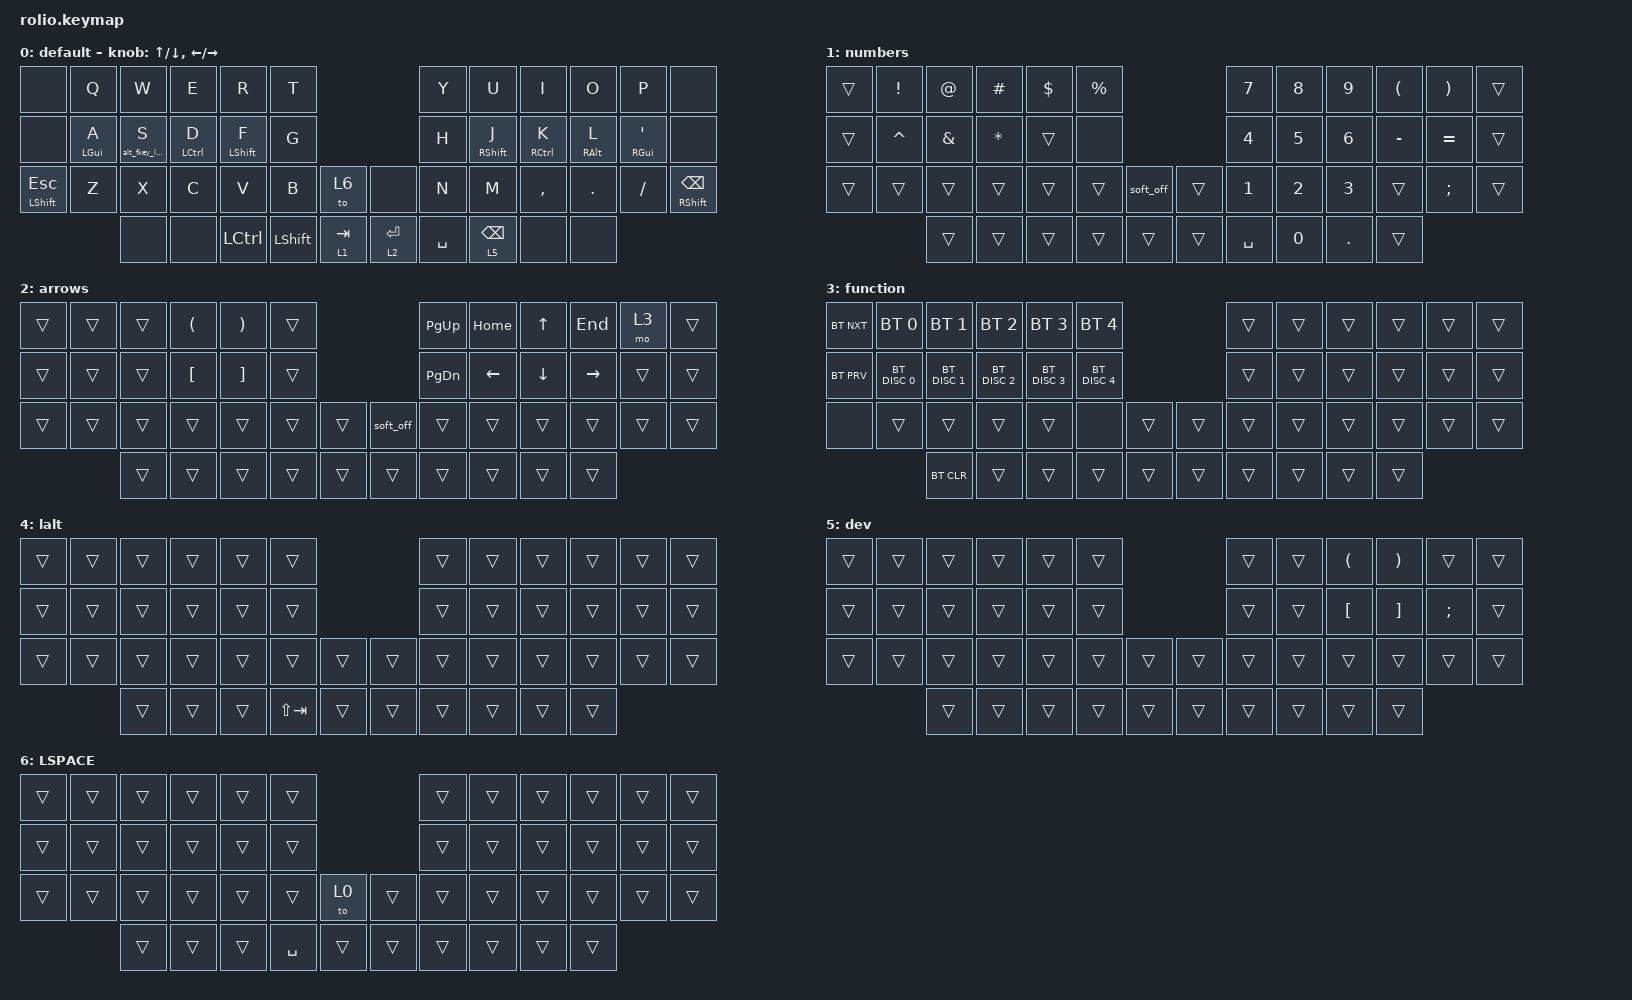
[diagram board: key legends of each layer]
/*
 * Copyright (c) 2020 The ZMK Contributors
 *
 * SPDX-License-Identifier: MIT
 */

#include <behaviors.dtsi>
#include <dt-bindings/zmk/bt.h>
#include <dt-bindings/zmk/keys.h>

#define MACOS     0
#define FKEYS     1
#define NUMBERS   2
#define WINDOWS   3
#define W_FKEYS   4
#define W_NUMBERS 5
#define MATHS     6
#define KB_CONFIG 7

/ {
    conditional_layers { compatible = "zmk,conditional-layers"; };

    behaviors {
        // Toggle F-Keys Layer

        td0: tap_dance_0 {
            compatible = "zmk,behavior-tap-dance";
            label = "TAP_DANCE_0";
            #binding-cells = <0>;
            tapping-term-ms = <300>;
            bindings = <&mo 0>, <&tog 0>, <&tog 0>;
        };

        // Toggle Numbers layer

        td1: tap_dance_1 {
            compatible = "zmk,behavior-tap-dance";
            label = "TAP_DANCE_1";
            #binding-cells = <0>;
            tapping-term-ms = <300>;
            bindings = <&mo 0>, <&tog 0>, <&tog 0>;
        };

        // Toggle capsword left

        td2: tap_dance_2 {
            compatible = "zmk,behavior-tap-dance";
            label = "TAP_DANCE_2";
            #binding-cells = <0>;
            tapping-term-ms = <200>;
            bindings = <&kp LSHFT>, <&caps_word>;
        };

        // Toggle capsword right

        td3: tap_dance_3 {
            compatible = "zmk,behavior-tap-dance";
            label = "TAP_DANCE_3";
            #binding-cells = <0>;
            tapping-term-ms = <200>;
            bindings = <&kp RSHFT>, <&caps_word>;
        };

        // Toggle Windows layer

        td4: tap_dance_4 {
            compatible = "zmk,behavior-tap-dance";
            label = "TAP_DANCE_4";
            #binding-cells = <0>;
            tapping-term-ms = <200>;
            bindings = <&kp LGUI>, <&tog 0>;
        };

        // Toggle Windows layer

        td5: tap_dance_5 {
            compatible = "zmk,behavior-tap-dance";
            label = "TAP_DANCE_5";
            #binding-cells = <0>;
            tapping-term-ms = <200>;
            bindings = <&kp RGUI>, <&tog 0>;
        };

        // Backspace a whole word when holding backspace

        backspace_word: backspace_word {
            compatible = "zmk,behavior-hold-tap";
            label = "BACKSPACE_WORD";
            #binding-cells = <2>;
            tapping_term_ms = <135>;
            quick_tap_ms = <0>;
            flavor = "tap-preferred";
            bindings = <&bsp_word>, <&kp>;
        };

        w_backspace_word: w_backspace_word {
            compatible = "zmk,behavior-hold-tap";
            label = "WINDOWS_BACKSPACE_WORD";
            #binding-cells = <2>;
            tapping_term_ms = <135>;
            quick_tap_ms = <0>;
            flavor = "tap-preferred";
            bindings = <&w_bsp_word>, <&kp>;
        };

        hrm_right: hrm_right {
            compatible = "zmk,behavior-hold-tap";
            label = "HRM_RIGHT";
            bindings = <&kp>, <&kp>;

            #binding-cells = <2>;
            flavor = "balanced";
            tapping-term-ms = <280>;
            quick-tap-ms = <175>;
            require-prior-idle-ms = <150>;
            hold-trigger-on-release;
            hold-trigger-key-positions = <38 39 40 41 42 30 1 2 3 4 5 13 14 15 16 17 25 26 27 28 29 0 12 24>;
        };

        hrm_left: hrm_left {
            compatible = "zmk,behavior-hold-tap";
            label = "HRM_LEFT";
            bindings = <&kp>, <&kp>;

            #binding-cells = <2>;
            flavor = "balanced";
            tapping-term-ms = <280>;
            quick-tap-ms = <175>;
            require-prior-idle-ms = <150>;
            hold-trigger-on-release;
            hold-trigger-key-positions = <43 44 45 46 47 6 7 8 9 10 11 18 19 20 21 22 23 32 33 34 35 36 37 31>;
        };

        hrm_left_alt_layer: hrm_left_alt_layer {
            compatible = "zmk,behavior-hold-tap";
            label = "HRM_LEFT_ALT_LAYER";
            bindings = <&alt_fkey_layer>, <&kp>;

            #binding-cells = <2>;
            flavor = "balanced";
            tapping-term-ms = <280>;
            quick-tap-ms = <175>;
            require-prior-idle-ms = <150>;
            hold-trigger-on-release;
            hold-trigger-key-positions = <43 44 45 46 47 6 7 8 9 10 11 18 19 20 21 22 23 32 33 34 35 36 37 31>;
        };

        //Mac OS Zoom
        //Windows OS Zoom
    };

    macros {
        unindent: unindent {
            label = "UNINDENT";
            compatible = "zmk,behavior-macro";
            #binding-cells = <0>;
            bindings =
                <&macro_press>,
                <&kp LSHIFT>,
                <&macro_tap>,
                <&kp TAB>,
                <&macro_release>,
                <&kp LSHIFT>;
        };

        lstart: lstart {
            label = "Line_Start";
            compatible = "zmk,behavior-macro";
            #binding-cells = <0>;
            bindings =
                <&macro_press>,
                <&kp LGUI>,
                <&macro_tap>,
                <&kp LEFT>,
                <&macro_release>,
                <&kp LGUI>;
        };

        lend: lend {
            label = "Line_End";
            compatible = "zmk,behavior-macro";
            #binding-cells = <0>;
            bindings =
                <&macro_press>,
                <&kp LGUI>,
                <&macro_tap>,
                <&kp RIGHT>,
                <&macro_release>,
                <&kp LGUI>;
        };

        scrsh: scrsh {
            label = "Screenshot";
            compatible = "zmk,behavior-macro";
            #binding-cells = <0>;
            bindings =
                <&macro_press>,
                <&kp LGUI>,
                <&macro_press>,
                <&kp LSHIFT>,
                <&macro_tap>,
                <&kp N3>,
                <&macro_release>,
                <&kp LSHFT>,
                <&macro_release>,
                <&kp LGUI>;
        };

        scrcr: scrcr {
            label = "Screen_Crop";
            compatible = "zmk,behavior-macro";
            #binding-cells = <0>;
            bindings =
                <&macro_press>,
                <&kp LGUI>,
                <&macro_press>,
                <&kp LSHIFT>,
                <&macro_tap>,
                <&kp N4>,
                <&macro_release>,
                <&kp LSHFT>,
                <&macro_release>,
                <&kp LGUI>;
        };

        wscrcr: wscrcr {
            label = "Windows_Screen_Crop";
            compatible = "zmk,behavior-macro";
            #binding-cells = <0>;
            bindings =
                <&macro_press>,
                <&kp LGUI>,
                <&macro_press>,
                <&kp LSHIFT>,
                <&macro_tap>,
                <&kp S>,
                <&macro_release>,
                <&kp LSHFT>,
                <&macro_release>,
                <&kp LGUI>;
        };

        pal: pal {
            label = "Pallette";
            compatible = "zmk,behavior-macro";
            #binding-cells = <0>;
            bindings =
                <&macro_press>,
                <&kp LGUI>,
                <&macro_press>,
                <&kp LCTRL>,
                <&macro_tap>,
                <&kp SPACE>,
                <&macro_release>,
                <&kp LCTRL>,
                <&macro_release>,
                <&kp LGUI>;
        };

        wpal: wpal {
            label = "W_Pallette";
            compatible = "zmk,behavior-macro";
            #binding-cells = <0>;
            bindings =
                <&macro_press>,
                <&kp LGUI>,
                <&macro_tap>,
                <&kp DOT>,
                <&macro_release>,
                <&kp LGUI>;
        };

        // Word backspace macros

        bsp_word: bsp_word {
            label = "BSP_WORD";
            compatible = "zmk,behavior-macro";
            #binding-cells = <0>;
            bindings =
                <&macro_press>,
                <&kp LALT>,
                <&macro_tap>,
                <&kp BSPC>,
                <&macro_release>,
                <&kp LALT>;
        };

        w_bsp_word: w_bsp_word {
            label = "W_BSP_WORD";
            compatible = "zmk,behavior-macro";
            #binding-cells = <0>;
            bindings =
                <&macro_press>,
                <&kp LCTRL>,
                <&macro_tap>,
                <&kp BSPC>,
                <&macro_release>,
                <&kp LCTRL>;
        };

        // Zoom macros

        zoom_in: zoom_in {
            label = "ZOOM_IN";
            compatible = "zmk,behavior-macro";
            #binding-cells = <0>;
            bindings =
                <&macro_press>,
                <&kp LGUI>,
                <&macro_tap>,
                <&kp EQUAL>,
                <&macro_release>,
                <&kp LGUI>;
        };

        zoom_out: zoom_out {
            label = "ZOOM_OUT";
            compatible = "zmk,behavior-macro";
            #binding-cells = <0>;
            bindings =
                <&macro_press>,
                <&kp LGUI>,
                <&macro_tap>,
                <&kp MINUS>,
                <&macro_release>,
                <&kp LGUI>;
        };

        reset_zoom: reset_zoom {
            label = "RESET_ZOOM";
            compatible = "zmk,behavior-macro";
            #binding-cells = <0>;
            bindings =
                <&macro_press>,
                <&kp LGUI>,
                <&macro_tap>,
                <&kp N0>,
                <&macro_release>,
                <&kp LGUI>;
        };

        w_zoom_in: w_zoom_in {
            label = "WINDOWS_ZOOM_IN";
            compatible = "zmk,behavior-macro";
            #binding-cells = <0>;
            bindings =
                <&macro_press>,
                <&kp LCTRL>,
                <&macro_tap>,
                <&kp EQUAL>,
                <&macro_release>,
                <&kp LCTRL>;
        };

        w_zoom_out: w_zoom_out {
            label = "WINDOWS_ZOOM_OUT";
            compatible = "zmk,behavior-macro";
            #binding-cells = <0>;
            bindings =
                <&macro_press>,
                <&kp LCTRL>,
                <&macro_tap>,
                <&kp MINUS>,
                <&macro_release>,
                <&kp LCTRL>;
        };

        w_reset_zoom: w_reset_zoom {
            label = "WINDOWS_RESET_ZOOM";
            compatible = "zmk,behavior-macro";
            #binding-cells = <0>;
            bindings =
                <&macro_press>,
                <&kp LCTRL>,
                <&macro_tap>,
                <&kp N0>,
                <&macro_release>,
                <&kp LCTRL>;
        };

        alt_fkey_layer: layer_mod {
            compatible = "zmk,behavior-macro";
            #binding-cells = <0>;
            bindings =
                <&macro_press>,
                <&kp LALT &mo 4>,
                <&macro_pause_for_release>,
                <&macro_release>,
                <&kp LEFT_ALT &mo 4>;

            label = "LAYER_MOD";
        };
    };

    combos {
        compatible = "zmk,combos";

        copy {
            bindings = <&kt LC(C)>;
            key-positions = <26 27>;
        };

        paste {
            bindings = <&kp LC(V)>;
            key-positions = <28 27>;
        };

        cut {
            bindings = <&kp LC(X)>;
            key-positions = <25 27>;
        };
    };

    keymap {
        compatible = "zmk,keymap";

        default_layer {
            label = "default";
            sensor-bindings = <&inc_dec_kp UP DOWN &inc_dec_kp LEFT RIGHT>;
            bindings = <
&none                  &kp Q                 &kp W                    &kp E                     &kp R                   &kp T                                   &kp Y      &kp U                     &kp I                       &kp O                   &kp P                     &none
&none                  &hrm_left LEFT_GUI A  &hrm_left_alt_layer 0 S  &hrm_left LEFT_CONTROL D  &hrm_left LEFT_SHIFT F  &kp G                                   &kp H      &hrm_right RIGHT_SHIFT J  &hrm_right RIGHT_CONTROL K  &hrm_right RIGHT_ALT L  &hrm_right RIGHT_GUI SQT  &none
&mt LEFT_SHIFT ESCAPE  &kp Z                 &kp X                    &kp C                     &kp V                   &kp B           &to 6      &none        &kp N      &kp M                     &kp COMMA                   &kp DOT                 &kp FSLH                  &mt RIGHT_SHIFT BACKSPACE
                                             &none                    &none                     &kp LCTRL               &kp LEFT_SHIFT  &lt 1 TAB  &lt 2 ENTER  &kp SPACE  &lt 5 BACKSPACE           &none                       &none
            >;
        };

        Numbers {
            bindings = <
&trans  &kp EXCLAMATION  &kp AT_SIGN    &kp HASH      &kp DOLLAR  &kp PERCENT                     &kp N7     &kp N8  &kp N9   &kp LEFT_PARENTHESIS  &kp RIGHT_PARENTHESIS  &trans
&trans  &kp CARET        &kp AMPERSAND  &kp ASTERISK  &trans      &none                           &kp N4     &kp N5  &kp N6   &kp MINUS             &kp EQUAL              &trans
&trans  &trans           &trans         &trans        &trans      &trans       &soft_off  &trans  &kp N1     &kp N2  &kp N3   &trans                &kp SEMICOLON          &trans
                         &trans         &trans        &trans      &trans       &trans     &trans  &kp SPACE  &kp N0  &kp DOT  &trans
            >;

            label = "numbers";
        };

        Arrows {
            bindings = <
&trans  &trans  &trans  &kp LEFT_PARENTHESIS  &kp RIGHT_PARENTHESIS  &trans                     &kp PAGE_UP    &kp HOME  &kp UP    &kp END    &mo 3   &trans
&trans  &trans  &trans  &kp LBKT              &kp RBKT               &trans                     &kp PAGE_DOWN  &kp LEFT  &kp DOWN  &kp RIGHT  &trans  &trans
&trans  &trans  &trans  &trans                &trans                 &trans  &trans  &soft_off  &trans         &trans    &trans    &trans     &trans  &trans
                &trans  &trans                &trans                 &trans  &trans  &trans     &trans         &trans    &trans    &trans
            >;

            label = "arrows";
        };

        Function {
            bindings = <
&bt BT_NXT  &bt BT_SEL 0   &bt BT_SEL 1   &bt BT_SEL 2   &bt BT_SEL 3   &bt BT_SEL 4                   &trans  &trans  &trans  &trans  &trans  &trans
&bt BT_PRV  &bt BT_DISC 0  &bt BT_DISC 1  &bt BT_DISC 2  &bt BT_DISC 3  &bt BT_DISC 4                  &trans  &trans  &trans  &trans  &trans  &trans
&none       &trans         &trans         &trans         &trans         &none          &trans  &trans  &trans  &trans  &trans  &trans  &trans  &trans
                           &bt BT_CLR     &trans         &trans         &trans         &trans  &trans  &trans  &trans  &trans  &trans
            >;

            label = "function";
        };

        alt_layer {
            bindings = <
&trans  &trans  &trans  &trans  &trans  &trans                       &trans  &trans  &trans  &trans  &trans  &trans
&trans  &trans  &trans  &trans  &trans  &trans                       &trans  &trans  &trans  &trans  &trans  &trans
&trans  &trans  &trans  &trans  &trans  &trans       &trans  &trans  &trans  &trans  &trans  &trans  &trans  &trans
                &trans  &trans  &trans  &kp LS(TAB)  &trans  &trans  &trans  &trans  &trans  &trans
            >;

            label = "lalt";
        };

        dev {
            bindings = <
&trans  &trans  &trans  &trans  &trans  &trans                  &trans  &trans  &kp LEFT_PARENTHESIS  &kp RIGHT_PARENTHESIS  &trans    &trans
&trans  &trans  &trans  &trans  &trans  &trans                  &trans  &trans  &kp LBKT              &kp RBKT               &kp SEMI  &trans
&trans  &trans  &trans  &trans  &trans  &trans  &trans  &trans  &trans  &trans  &trans                &trans                 &trans    &trans
                &trans  &trans  &trans  &trans  &trans  &trans  &trans  &trans  &trans                &trans
            >;

            label = "dev";
        };

        LSPACE {
            bindings = <
&trans  &trans  &trans  &trans  &trans  &trans                     &trans  &trans  &trans  &trans  &trans  &trans
&trans  &trans  &trans  &trans  &trans  &trans                     &trans  &trans  &trans  &trans  &trans  &trans
&trans  &trans  &trans  &trans  &trans  &trans     &to 0   &trans  &trans  &trans  &trans  &trans  &trans  &trans
                &trans  &trans  &trans  &kp SPACE  &trans  &trans  &trans  &trans  &trans  &trans
            >;

            label = "LSPACE";
        };
    };
};
